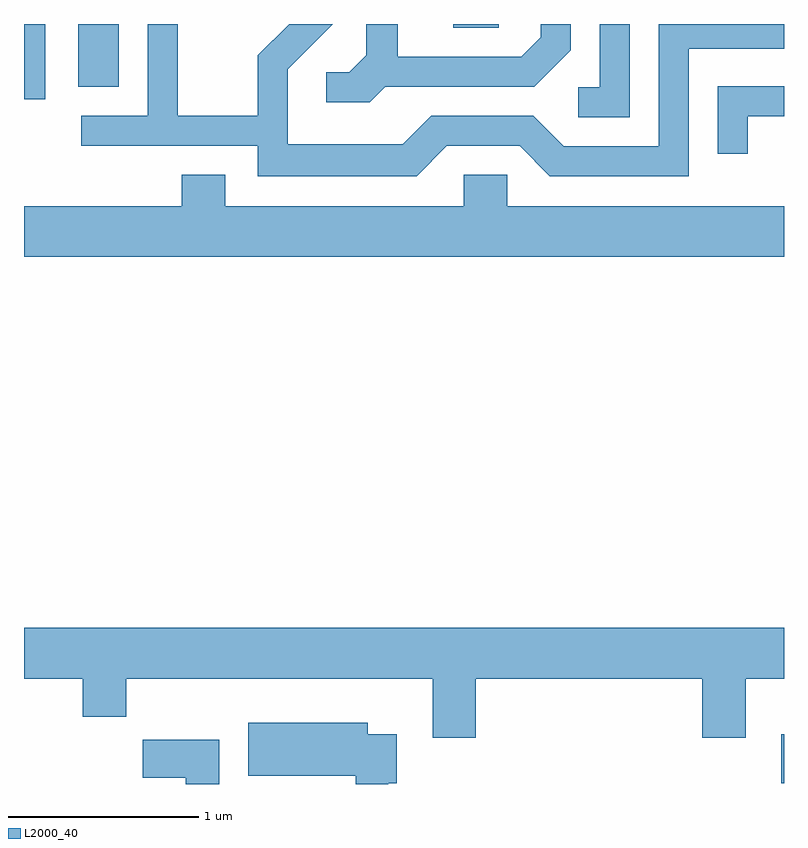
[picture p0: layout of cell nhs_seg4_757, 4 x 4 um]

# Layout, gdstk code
import gdstk
lib = gdstk.Library(unit=1e-6, precision=1e-09)
def R(c, l, rs):  # rectangles x0, y0, x1, y1
    for r in rs: c.add(gdstk.rectangle(r[:2], r[2:], *l))
def P(c, l, *ps):  # polygons
    for p in ps: c.add(gdstk.Polygon(p, *l))
L2000_40 = (2000, 40)

nhs_seg4_757 = lib.new_cell('nhs_seg4_757')
R(nhs_seg4_757, L2000_40, [(211.596,1271.986,211.611,1272.244), (207.611,1275.586,207.724,1275.982), (207.896,1275.651,208.109,1275.982), (209.871,1275.961,210.109,1275.982)])
P(nhs_seg4_757, L2000_40, [(209.512,1275.651),(210.297,1275.651),(210.489,1275.844),(210.489,1275.982),(210.331,1275.982),(210.331,1275.912),(210.229,1275.809),(209.579,1275.809),(209.579,1275.982),(209.411,1275.982),(209.411,1275.817),(209.324,1275.729),(209.203,1275.729),(209.203,1275.571),(209.432,1275.571)],
  [(210.799,1275.982),(210.641,1275.982),(210.641,1275.649),(210.528,1275.649),(210.528,1275.491),(210.799,1275.491)],
  [(209.837,1275.341),(210.219,1275.341),(210.379,1275.181),(211.109,1275.181),(211.109,1275.851),(211.611,1275.851),(211.611,1275.982),(210.951,1275.982),(210.951,1275.339),(210.452,1275.339),(210.292,1275.499),(209.754,1275.499),(209.604,1275.349),(208.999,1275.349),(208.999,1275.744),(209.237,1275.982),(209.006,1275.982),(208.841,1275.817),(208.841,1275.499),(208.419,1275.499),(208.419,1275.982),(208.261,1275.982),(208.261,1275.499),(207.913,1275.499),(207.913,1275.341),(208.841,1275.341),(208.841,1275.181),(209.677,1275.181)],
  [(211.419,1275.496),(211.611,1275.496),(211.611,1275.654),(211.261,1275.654),(211.261,1275.298),(211.419,1275.298)],
  [(211.611,1275.024),(210.154,1275.024),(210.154,1275.189),(209.926,1275.189),(209.926,1275.024),(208.669,1275.024),(208.669,1275.189),(208.441,1275.189),(208.441,1275.024),(207.611,1275.024),(207.611,1274.756),(211.611,1274.756)],
  [(209.989,1272.536),(211.181,1272.536),(211.181,1272.226),(211.409,1272.226),(211.409,1272.536),(211.611,1272.536),(211.611,1272.804),(207.611,1272.804),(207.611,1272.536),(207.921,1272.536),(207.921,1272.336),(208.149,1272.336),(208.149,1272.536),(209.761,1272.536),(209.761,1272.226),(209.989,1272.226)],
  [(209.529,1271.986),(209.574,1271.986),(209.574,1272.244),(209.419,1272.244),(209.419,1272.304),(208.791,1272.304),(208.791,1272.026),(209.356,1272.026),(209.356,1271.982),(209.529,1271.982)],
  [(208.639,1272.214),(208.236,1272.214),(208.236,1272.016),(208.461,1272.016),(208.461,1271.982),(208.639,1271.982)])

lib.write_gds('nhs_seg4_757.gds')
